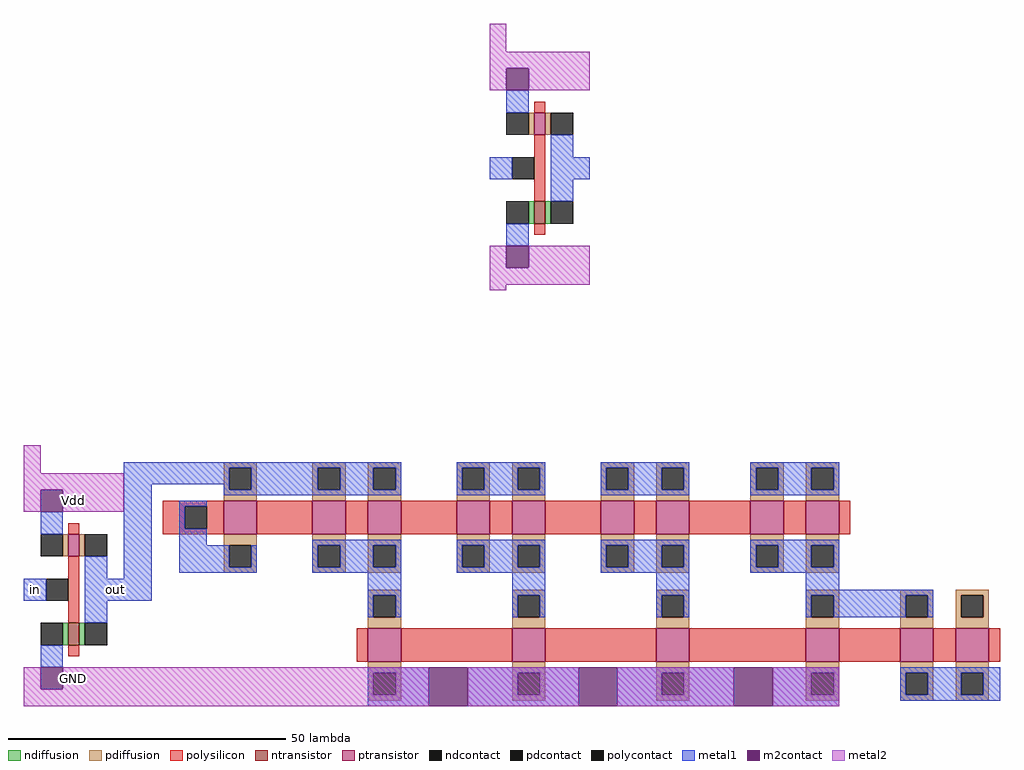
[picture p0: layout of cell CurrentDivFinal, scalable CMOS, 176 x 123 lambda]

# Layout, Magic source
magic
tech scmos
<< ntransistor >>
rect -16 11 -14 15
<< ptransistor >>
rect -16 27 -14 31
<< ndiffusion >>
rect -17 11 -16 15
rect -14 11 -13 15
<< pdiffusion >>
rect -17 27 -16 31
rect -14 27 -13 31
<< ndcontact >>
rect -21 11 -17 15
rect -13 11 -9 15
<< pdcontact >>
rect -21 27 -17 31
rect -13 27 -9 31
<< polysilicon >>
rect -16 31 -14 33
rect -16 15 -14 27
rect -16 9 -14 11
<< polycontact >>
rect -20 19 -16 23
<< metal1 >>
rect -6 40 3 44
rect -21 31 -17 35
rect -13 23 -9 27
rect -6 23 -1 40
rect -24 19 -20 23
rect -13 19 -1 23
rect -13 15 -9 19
rect -21 7 -17 11
<< m2contact >>
rect -21 35 -17 39
rect -21 3 -17 7
<< metal2 >>
rect -24 42 -21 47
rect -24 39 -6 42
rect -24 35 -21 39
rect -17 35 -6 39
rect -24 3 -21 7
rect -17 3 13 7
rect -24 0 13 3
use inverter  inverter_0
transform 1 0 60 0 1 80
box 0 -5 18 43
use currentdiv  currentdiv_0
transform 1 0 29 0 1 32
box -29 -32 123 12
<< labels >>
rlabel metal1 -9 19 -6 23 7 out
rlabel metal2 -24 35 -6 39 5 Vdd
rlabel metal2 -24 3 -6 7 1 GND
rlabel metal1 -24 19 -20 23 3 in
<< end >>

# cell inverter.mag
magic
tech scmos
<< ntransistor >>
rect 8 7 10 11
<< ptransistor >>
rect 8 23 10 27
<< ndiffusion >>
rect 7 7 8 11
rect 10 7 11 11
<< pdiffusion >>
rect 7 23 8 27
rect 10 23 11 27
<< ndcontact >>
rect 3 7 7 11
rect 11 7 15 11
<< pdcontact >>
rect 3 23 7 27
rect 11 23 15 27
<< polysilicon >>
rect 8 27 10 29
rect 8 11 10 23
rect 8 5 10 7
<< polycontact >>
rect 4 15 8 19
<< metal1 >>
rect 3 27 7 31
rect 11 19 15 23
rect 0 15 4 19
rect 11 15 18 19
rect 11 11 15 15
rect 3 3 7 7
<< m2contact >>
rect 3 31 7 35
rect 3 -1 7 3
<< metal2 >>
rect 0 38 3 43
rect 0 35 18 38
rect 0 31 3 35
rect 7 31 18 35
rect 0 -1 3 3
rect 7 -1 18 3
rect 0 -4 18 -1
rect 0 -5 3 -4
<< labels >>
rlabel metal1 15 15 18 19 7 out
rlabel metal2 0 31 18 35 5 Vdd
rlabel metal2 0 -1 18 3 1 GND
rlabel metal1 0 15 4 19 3 in
<< end >>

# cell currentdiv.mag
magic
tech scmos
<< ptransistor >>
rect -17 -1 -11 5
rect -1 -1 5 5
rect 9 -1 15 5
rect 25 -1 31 5
rect 35 -1 41 5
rect 51 -1 57 5
rect 61 -1 67 5
rect 78 -1 84 5
rect 88 -1 94 5
rect 9 -24 15 -18
rect 35 -24 41 -18
rect 61 -24 67 -18
rect 88 -24 94 -18
rect 105 -24 111 -18
rect 115 -24 121 -18
<< pdiffusion >>
rect -17 11 -11 12
rect -17 7 -16 11
rect -12 7 -11 11
rect -17 5 -11 7
rect -1 11 5 12
rect -1 7 0 11
rect 4 7 5 11
rect -1 5 5 7
rect 9 11 15 12
rect 9 7 10 11
rect 14 7 15 11
rect 9 5 15 7
rect 25 11 31 12
rect 25 7 26 11
rect 30 7 31 11
rect 25 5 31 7
rect 35 11 41 12
rect 35 7 36 11
rect 40 7 41 11
rect 35 5 41 7
rect 51 11 57 12
rect 51 7 52 11
rect 56 7 57 11
rect 51 5 57 7
rect 61 11 67 12
rect 61 7 62 11
rect 66 7 67 11
rect 61 5 67 7
rect 78 11 84 12
rect 78 7 79 11
rect 83 7 84 11
rect 78 5 84 7
rect 88 11 94 12
rect 88 7 89 11
rect 93 7 94 11
rect 88 5 94 7
rect -17 -3 -11 -1
rect -17 -7 -16 -3
rect -12 -7 -11 -3
rect -17 -8 -11 -7
rect -1 -3 5 -1
rect -1 -7 0 -3
rect 4 -7 5 -3
rect -1 -8 5 -7
rect 9 -3 15 -1
rect 9 -7 10 -3
rect 14 -7 15 -3
rect 9 -8 15 -7
rect 25 -3 31 -1
rect 25 -7 26 -3
rect 30 -7 31 -3
rect 25 -8 31 -7
rect 35 -3 41 -1
rect 35 -7 36 -3
rect 40 -7 41 -3
rect 35 -8 41 -7
rect 51 -3 57 -1
rect 51 -7 52 -3
rect 56 -7 57 -3
rect 51 -8 57 -7
rect 61 -3 67 -1
rect 61 -7 62 -3
rect 66 -7 67 -3
rect 61 -8 67 -7
rect 78 -3 84 -1
rect 78 -7 79 -3
rect 83 -7 84 -3
rect 78 -8 84 -7
rect 88 -3 94 -1
rect 88 -7 89 -3
rect 93 -7 94 -3
rect 88 -8 94 -7
rect 9 -12 15 -11
rect 9 -16 10 -12
rect 14 -16 15 -12
rect 9 -18 15 -16
rect 35 -12 41 -11
rect 35 -16 36 -12
rect 40 -16 41 -12
rect 35 -18 41 -16
rect 61 -12 67 -11
rect 61 -16 62 -12
rect 66 -16 67 -12
rect 61 -18 67 -16
rect 88 -12 94 -11
rect 88 -16 89 -12
rect 93 -16 94 -12
rect 88 -18 94 -16
rect 105 -12 111 -11
rect 105 -16 106 -12
rect 110 -16 111 -12
rect 105 -18 111 -16
rect 115 -12 121 -11
rect 115 -16 116 -12
rect 120 -16 121 -12
rect 115 -18 121 -16
rect 9 -26 15 -24
rect 9 -30 10 -26
rect 14 -30 15 -26
rect 9 -31 15 -30
rect 35 -26 41 -24
rect 35 -30 36 -26
rect 40 -30 41 -26
rect 35 -31 41 -30
rect 61 -26 67 -24
rect 61 -30 62 -26
rect 66 -30 67 -26
rect 61 -31 67 -30
rect 88 -26 94 -24
rect 88 -30 89 -26
rect 93 -30 94 -26
rect 88 -31 94 -30
rect 105 -26 111 -24
rect 105 -30 106 -26
rect 110 -30 111 -26
rect 105 -31 111 -30
rect 115 -26 121 -24
rect 115 -30 116 -26
rect 120 -30 121 -26
rect 115 -31 121 -30
<< pdcontact >>
rect -16 7 -12 11
rect 0 7 4 11
rect 10 7 14 11
rect 26 7 30 11
rect 36 7 40 11
rect 52 7 56 11
rect 62 7 66 11
rect 79 7 83 11
rect 89 7 93 11
rect -16 -7 -12 -3
rect 0 -7 4 -3
rect 10 -7 14 -3
rect 26 -7 30 -3
rect 36 -7 40 -3
rect 52 -7 56 -3
rect 62 -7 66 -3
rect 79 -7 83 -3
rect 89 -7 93 -3
rect 10 -16 14 -12
rect 36 -16 40 -12
rect 62 -16 66 -12
rect 89 -16 93 -12
rect 106 -16 110 -12
rect 116 -16 120 -12
rect 10 -30 14 -26
rect 36 -30 40 -26
rect 62 -30 66 -26
rect 89 -30 93 -26
rect 106 -30 110 -26
rect 116 -30 120 -26
<< polysilicon >>
rect -28 4 -17 5
rect -28 0 -24 4
rect -20 0 -17 4
rect -28 -1 -17 0
rect -11 -1 -1 5
rect 5 -1 9 5
rect 15 -1 25 5
rect 31 -1 35 5
rect 41 -1 51 5
rect 57 -1 61 5
rect 67 -1 78 5
rect 84 -1 88 5
rect 94 -1 96 5
rect 7 -24 9 -18
rect 15 -24 35 -18
rect 41 -24 61 -18
rect 67 -24 88 -18
rect 94 -24 105 -18
rect 111 -24 115 -18
rect 121 -24 123 -18
<< polycontact >>
rect -24 0 -20 4
<< metal1 >>
rect -28 11 15 12
rect -28 8 -16 11
rect -17 7 -16 8
rect -12 7 0 11
rect 4 7 10 11
rect 14 7 15 11
rect -17 6 15 7
rect 25 11 41 12
rect 25 7 26 11
rect 30 7 36 11
rect 40 7 41 11
rect 25 6 41 7
rect 51 11 67 12
rect 51 7 52 11
rect 56 7 62 11
rect 66 7 67 11
rect 51 6 67 7
rect 78 11 94 12
rect 78 7 79 11
rect 83 7 89 11
rect 93 7 94 11
rect 78 6 94 7
rect -25 4 -20 5
rect -25 0 -24 4
rect -25 -3 -20 0
rect -1 -3 15 -2
rect -25 -7 -16 -3
rect -12 -7 -11 -3
rect -25 -8 -11 -7
rect -1 -7 0 -3
rect 4 -7 10 -3
rect 14 -7 15 -3
rect -1 -8 15 -7
rect 25 -3 41 -2
rect 25 -7 26 -3
rect 30 -7 36 -3
rect 40 -7 41 -3
rect 25 -8 41 -7
rect 51 -3 67 -2
rect 51 -7 52 -3
rect 56 -7 62 -3
rect 66 -7 67 -3
rect 51 -8 67 -7
rect 78 -3 94 -2
rect 78 -7 79 -3
rect 83 -7 89 -3
rect 93 -7 94 -3
rect 78 -8 94 -7
rect 9 -12 15 -8
rect 9 -16 10 -12
rect 14 -16 15 -12
rect 35 -12 41 -8
rect 35 -16 36 -12
rect 40 -16 41 -12
rect 61 -12 67 -8
rect 61 -16 62 -12
rect 66 -16 67 -12
rect 88 -11 94 -8
rect 88 -12 111 -11
rect 88 -16 89 -12
rect 93 -16 106 -12
rect 110 -16 111 -12
rect 9 -26 20 -25
rect 9 -30 10 -26
rect 14 -30 20 -26
rect 9 -32 20 -30
rect 27 -26 47 -25
rect 27 -30 36 -26
rect 40 -30 47 -26
rect 27 -32 47 -30
rect 54 -26 75 -25
rect 54 -30 62 -26
rect 66 -30 75 -26
rect 54 -32 75 -30
rect 82 -26 94 -25
rect 82 -30 89 -26
rect 93 -30 94 -26
rect 82 -32 94 -30
rect 105 -26 123 -25
rect 105 -30 106 -26
rect 110 -30 116 -26
rect 120 -30 123 -26
rect 105 -31 123 -30
<< m2contact >>
rect 20 -32 27 -25
rect 47 -32 54 -25
rect 75 -32 82 -25
<< metal2 >>
rect -29 -32 20 -25
rect 27 -32 47 -25
rect 54 -32 75 -25
rect 82 -32 94 -25
<< labels >>
rlabel polysilicon -28 -1 -26 5 3 Iin
rlabel metal1 121 -31 123 -25 8 Iout
<< end >>
